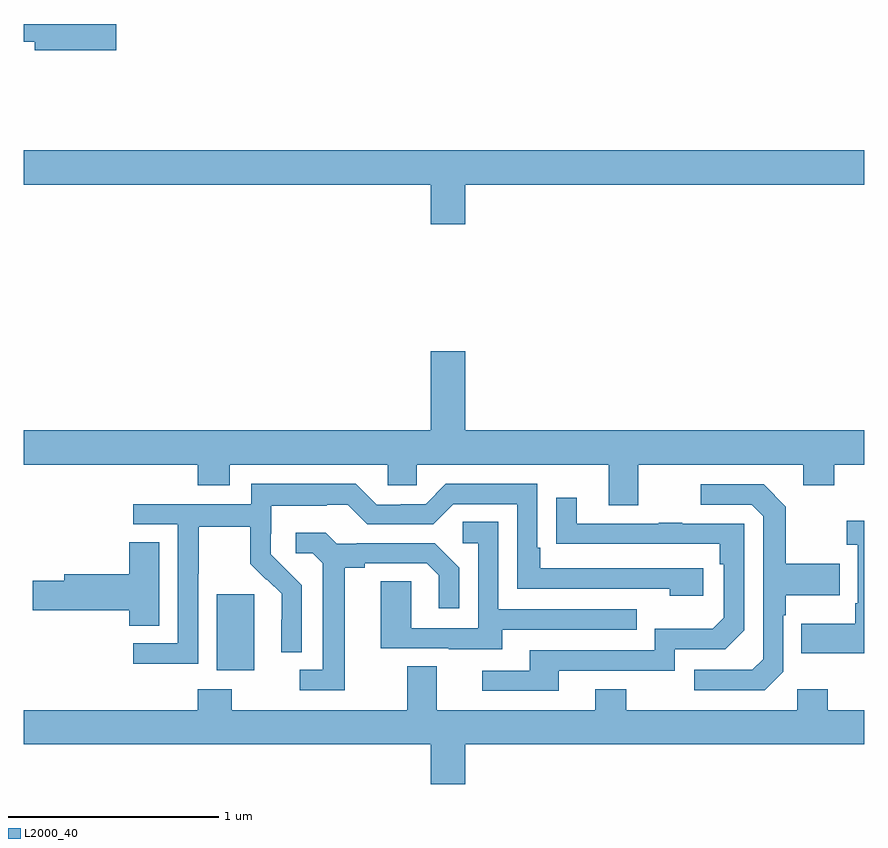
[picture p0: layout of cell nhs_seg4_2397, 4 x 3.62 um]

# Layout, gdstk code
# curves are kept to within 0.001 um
import gdstk
lib = gdstk.Library(unit=1e-6, precision=1e-09)
def R(c, l, rs):  # rectangles x0, y0, x1, y1
    for r in rs: c.add(gdstk.rectangle(r[:2], r[2:], *l))
def P(c, l, *ps):  # polygons
    for p in ps: c.add(gdstk.Polygon(p, *l))
L2000_40 = (2000, 40)

nhs_seg4_2397 = lib.new_cell('nhs_seg4_2397')
R(nhs_seg4_2397, L2000_40, [(235.919,811.826,236.098,812.187)])
P(nhs_seg4_2397, L2000_40, [(235.441,814.9),(235,814.9),(235,814.816),(235.052,814.816),(235.052,814.774),(235.441,814.774)],
  [(237.1,814.136),(239,814.136),(239,814.3),(235,814.3),(235,814.136),(236.936,814.136),(236.936,813.948),(237.1,813.948)],
  [(237.925,812.804),(238.709,812.804),(238.709,812.705),(238.857,812.705),(238.857,812.804),(239,812.804),(239,812.968),(237.1,812.968),(237.1,813.343),(236.936,813.343),(236.936,812.968),(235,812.968),(235,812.804),(235.829,812.804),(235.829,812.705),(235.981,812.705),(235.981,812.804),(236.733,812.804),(236.733,812.706),(236.871,812.706),(236.871,812.804),(237.785,812.804),(237.785,812.61),(237.925,812.61)],
  [(235.83,812.284),(235.833,812.284),(235.833,812.508),(236.077,812.508),(236.077,812.333),(236.154,812.256),(236.157,812.259),(236.228,812.189),(236.228,812.066),(236.226,812.066),(236.226,811.912),(236.322,811.912),(236.322,812.23),(236.176,812.378),(236.176,812.475),(236.178,812.475),(236.178,812.609),(236.441,812.609),(236.441,812.613),(236.541,812.613),(236.634,812.52),(236.949,812.52),(237.045,812.616),(237.348,812.616),(237.348,812.214),(238.073,812.214),(238.073,812.18),(238.234,812.18),(238.234,812.31),(237.457,812.31),(237.457,812.407),(237.444,812.407),(237.444,812.712),(237.009,812.712),(236.913,812.616),(236.795,812.616),(236.795,812.613),(236.679,812.613),(236.579,812.713),(236.082,812.713),(236.082,812.616),(235.521,812.616),(235.521,812.52),(235.734,812.52),(235.734,811.953),(235.521,811.953),(235.521,811.855),(235.83,811.855)],
  [(238.614,811.818),(238.614,812.087),(238.627,812.087),(238.627,812.183),(238.883,812.183),(238.883,812.331),(238.627,812.331),(238.627,812.603),(238.521,812.709),(238.221,812.709),(238.221,812.613),(238.464,812.613),(238.518,812.559),(238.518,811.878),(238.467,811.827),(238.191,811.827),(238.191,811.731),(238.527,811.731)],
  [(237.547,811.824),(238.098,811.824),(238.098,811.926),(238.338,811.926),(238.428,812.016),(238.428,812.523),(238.133,812.523),(238.133,812.528),(238.021,812.528),(238.021,812.523),(237.631,812.523),(237.631,812.647),(237.535,812.647),(237.535,812.428),(238.312,812.427),(238.312,812.33),(238.332,812.33),(238.332,812.076),(238.279,812.023),(238.002,812.023),(238.002,811.92),(237.407,811.92),(237.407,811.824),(237.183,811.824),(237.183,811.728),(237.547,811.728)],
  [(239,812.536),(238.917,812.536),(238.917,812.423),(238.968,812.423),(238.968,812.143),(238.956,812.143),(238.956,812.047),(238.699,812.047),(238.699,811.907),(239,811.907)],
  [(237.277,812.019),(237.917,812.019),(237.917,812.115),(237.258,812.115),(237.258,812.531),(237.09,812.531),(237.09,812.43),(237.162,812.43),(237.162,812.025),(236.844,812.025),(236.844,812.249),(236.699,812.249),(236.699,811.929),(237.023,811.929),(237.023,811.925),(237.277,811.925)],
  [(236.527,812.312),(236.623,812.312),(236.623,812.334),(236.918,812.334),(236.975,812.277),(236.975,812.121),(237.072,812.121),(237.072,812.314),(236.956,812.43),(236.584,812.43),(236.584,812.427),(236.49,812.427),(236.438,812.479),(236.295,812.479),(236.295,812.382),(236.376,812.382),(236.423,812.335),(236.423,811.827),(236.313,811.827),(236.313,811.731),(236.527,811.731)],
  [(235.645,812.435),(235.502,812.435),(235.502,812.282),(235.193,812.282),(235.193,812.252),(235.044,812.252),(235.044,812.11),(235.502,812.11),(235.502,812.038),(235.645,812.038)],
  [(237.1,811.472),(239,811.472),(239,811.636),(238.827,811.636),(238.827,811.735),(238.68,811.735),(238.68,811.636),(237.867,811.636),(237.867,811.735),(237.719,811.735),(237.719,811.636),(236.965,811.636),(236.965,811.844),(236.825,811.844),(236.825,811.636),(235.989,811.636),(235.989,811.735),(235.829,811.735),(235.829,811.636),(235,811.636),(235,811.472),(236.936,811.472),(236.936,811.284),(237.1,811.284)])

lib.write_gds('nhs_seg4_2397.gds')
